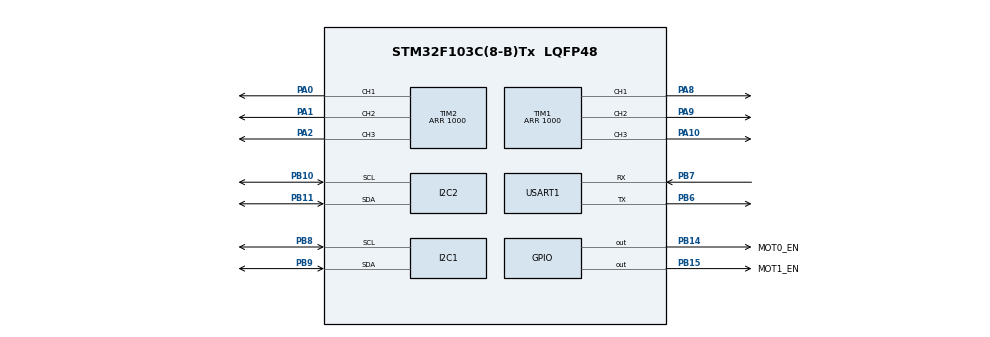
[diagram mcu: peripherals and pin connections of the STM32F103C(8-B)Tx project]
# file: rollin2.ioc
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I2C1.I2C_Mode=I2C_Standard
Mcu.Family=STM32F1
Mcu.Name=STM32F103C(8-B)Tx
Mcu.Package=LQFP48
NVIC.PriorityGroup=NVIC_PRIORITYGROUP_4
PA0-WKUP.Signal=S_TIM2_CH1_ETR
PA1.Signal=S_TIM2_CH2
PA10.Signal=S_TIM1_CH3
PA13.Mode=Serial_Wire
PA13.Signal=SYS_JTMS-SWDIO
PA14.Mode=Serial_Wire
PA14.Signal=SYS_JTCK-SWCLK
PA2.Signal=S_TIM2_CH3
PA8.Signal=S_TIM1_CH1
PA9.Signal=S_TIM1_CH2
PB10.Mode=I2C
PB10.Signal=I2C2_SCL
PB11.Mode=I2C
PB11.Signal=I2C2_SDA
PB14.GPIO_Label=MOT0_EN
PB14.GPIO_PuPd=GPIO_PULLDOWN
PB14.Signal=GPIO_Output
PB15.GPIO_Label=MOT1_EN
PB15.GPIO_PuPd=GPIO_PULLDOWN
PB15.Signal=GPIO_Output
PB6.Mode=Asynchronous
PB6.Signal=USART1_TX
PB7.Mode=Asynchronous
PB7.Signal=USART1_RX
PB8.Mode=I2C
PB8.Signal=I2C1_SCL
PB9.Mode=I2C
PB9.Signal=I2C1_SDA
PD0-OSC_IN.Mode=HSE-External-Oscillator
PD0-OSC_IN.Signal=RCC_OSC_IN
PD1-OSC_OUT.Mode=HSE-External-Oscillator
PD1-OSC_OUT.Signal=RCC_OSC_OUT
ProjectManager.HeapSize=0x200
ProjectManager.StackSize=0x400
ProjectManager.TargetToolchain=STM32CubeIDE
RCC.AHBFreq_Value=64000000
RCC.APB1CLKDivider=RCC_HCLK_DIV2
RCC.APB1Freq_Value=32000000
RCC.APB1TimFreq_Value=64000000
RCC.APB2Freq_Value=64000000
RCC.APB2TimFreq_Value=64000000
RCC.DATA_CACHE_ENABLE=1
RCC.HCLKFreq_Value=64000000
RCC.INSTRUCTION_CACHE_ENABLE=1
RCC.LSE_Drive_CapabilityArg=+LSE_Drive_Capability
RCC.MSIAutoCalibration=DISABLED
RCC.MSICalibrationValue=0
RCC.PLLMUL=RCC_PLL_MUL8
RCC.PLLSourceVirtual=RCC_PLLSOURCE_HSE
RCC.PWR_Regulator_Voltage_Scale=PWR_REGULATOR_VOLTAGE_SCALE1
RCC.SYSCLKFreq_VALUE=64000000
RCC.SYSCLKSource=RCC_SYSCLKSOURCE_PLLCLK
RCC.USBFreq_Value=64000000
SH.S_TIM1_CH1.0=TIM1_CH1,PWM Generation1 CH1
SH.S_TIM1_CH2.0=TIM1_CH2,PWM Generation2 CH2
SH.S_TIM1_CH3.0=TIM1_CH3,PWM Generation3 CH3
SH.S_TIM2_CH1_ETR.0=TIM2_CH1,PWM Generation1 CH1
SH.S_TIM2_CH2.0=TIM2_CH2,PWM Generation2 CH2
SH.S_TIM2_CH3.0=TIM2_CH3,PWM Generation3 CH3
TIM1.Channel-PWM\ Generation1\ CH1=TIM_CHANNEL_1
TIM1.Channel-PWM\ Generation2\ CH2=TIM_CHANNEL_2
TIM1.Channel-PWM\ Generation3\ CH3=TIM_CHANNEL_3
TIM1.ClockDivision=TIM_CLOCKDIVISION_DIV2
TIM1.Period=1000
TIM2.Channel-PWM\ Generation1\ CH1=TIM_CHANNEL_1
TIM2.Channel-PWM\ Generation2\ CH2=TIM_CHANNEL_2
TIM2.Channel-PWM\ Generation3\ CH3=TIM_CHANNEL_3
TIM2.ClockDivision=TIM_CLOCKDIVISION_DIV2
TIM2.Period=1000
USART1.VirtualMode=VM_ASYNC
VP_TIM1_VS_ClockSourceINT.Mode=Internal
VP_TIM2_VS_ClockSourceINT.Mode=Internal
VP_TIM3_VS_ClockSourceINT.Mode=Internal
board=custom

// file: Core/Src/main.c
/* USER CODE BEGIN Header */
/**
  ******************************************************************************
  * @file           : main.c
  * @brief          : Main program body
  ******************************************************************************
  * @attention
  *
  * Copyright (c) 2025 STMicroelectronics.
  * All rights reserved.
  *
  * This software is licensed under terms that can be found in the LICENSE file
  * in the root directory of this software component.
  * If no LICENSE file comes with this software, it is provided AS-IS.
  *
  ******************************************************************************
  */
/* USER CODE END Header */
#include "main.h"
#include "i2c.h"
#include "tim.h"
#include "usart.h"
#include "gpio.h"

/* USER CODE BEGIN Includes */
#include "project.h"
#include "uart.h"
#include "str_buf.h"
#include "bldc_motor.h"
#include "bldc_driver.h"
#include "angle_sensor.h"

/* USER CODE END Includes */

/* USER CODE BEGIN PV */
bldc_motor_t m1;
bldc_driver_t md1;
angle_sens_t as1;
uart_t u1;

#define MAIN_STR_BUF_SIZE (128)
char main_str_buf[MAIN_STR_BUF_SIZE];

/* USER CODE END PV */

void SystemClock_Config(void);

/* USER CODE BEGIN 0 */
void waitabit(uint32_t x) {
	while(x) x--;
}
/*#include "calcs.h"
void test_calcs(void) {
  volatile float res;
  res = calcs_sinf_from_lut(0); // 0
  res = calcs_sinf_from_lut(45); // 0.707
  res = calcs_sinf_from_lut(60); // 0.866
  res = calcs_sinf_from_lut(90); // 0.1
  res = calcs_sinf_from_lut(135); // 0.707
  res = calcs_sinf_from_lut(180); // 1.22E-16
  res = calcs_sinf_from_lut(359); // -0.017
  res = calcs_sinf_from_lut(270); // -1
  return;
}*/
/* USER CODE END 0 */

int main(void)
{

  /* USER CODE BEGIN 1 */
	uint32_t now, last_tick, waitcnt;
	float dt, sum_dt;//, ang_deg_vel, prev_angle_deg, delta;
  /* USER CODE END 1 */

  /* MCU Configuration--------------------------------------------------------*/

  /* Reset of all peripherals, Initializes the Flash interface and the Systick. */
  HAL_Init();

  /* Configure the system clock */
  SystemClock_Config();

  /* Initialize all configured peripherals */
  MX_GPIO_Init();
  MX_I2C1_Init();
  MX_I2C2_Init();
  MX_TIM1_Init();
  MX_TIM2_Init();
  MX_TIM3_Init();
  MX_USART1_UART_Init();
  /* USER CODE BEGIN 2 */

  uart_init(&u1, USART1);

  angle_sensor_init(&as1, &hi2c1);

  bldc_driver_init(&md1, TIM1);
  bldc_driver_set_enable_pin(&md1, MOT0_EN_GPIO_Port, MOT0_EN_Pin);

  bldc_motor_init(&m1, &md1, &as1);
  //bldc_motor_set_ctrl_type(&m1, BLDC_MOTOR_CTRL_TYPE_VELOCITY_OPENLOOP);
  bldc_motor_set_ctrl_type(&m1, BLDC_MOTOR_CTRL_TYPE_ANGLE_OPENLOOP);
  bldc_motor_set_motor_parameters(&m1, 7, 360, 0.4f);
  bldc_motor_set_pid(&m1, 1.0f, 1.0f, 0.0f);
  bldc_motor_set_voltage_limit(&m1, 1.0f);
  bldc_motor_set_speed_limit(&m1, 1.0f);
  bldc_motor_set_target_speed(&m1, 1.0f);
  bldc_motor_set_target_angle_deg(&m1, 90.0f);

  bldc_driver_enable(&md1);
  //bldc_driver_set_pwm(&md1, 100, 200, 300);

  bldc_motor_enable(&m1);
  m1.set.voltage_q = 0.125f;

  /* USER CODE END 2 */

  /* Infinite loop */
  /* USER CODE BEGIN WHILE */

  now = HAL_GetTick();
  last_tick = now;
  uart_send_string_blocking(&u1, "hello from the other side :-D\n");
  angle_sensor_get(&as1);
  str_buf_clear(main_str_buf, MAIN_STR_BUF_SIZE);
  str_buf_append_uint16(main_str_buf, MAIN_STR_BUF_SIZE, as1.raw_angle);
  str_buf_append_string(main_str_buf, MAIN_STR_BUF_SIZE, "\n");
  uart_send_string_blocking(&u1, main_str_buf);
  waitcnt = 1;//0000;
  sum_dt = 0;

  //test_calcs();

  while (1)
  {
	  //waitabit(500000);
	  waitabit(waitcnt);

	  now = HAL_GetTick();
	  dt = (float)(now - last_tick)/1000.0f; // in ms
	  last_tick = now;

	  bldc_motor_move(&m1, dt);
//#if 0
	  str_buf_clear(main_str_buf, MAIN_STR_BUF_SIZE);
	  str_buf_append_float(main_str_buf, MAIN_STR_BUF_SIZE, m1.current.angle_deg, 3);
	  str_buf_append_string(main_str_buf, MAIN_STR_BUF_SIZE, ",");
//	  str_buf_append_float(main_str_buf, MAIN_STR_BUF_SIZE, m1.current.angle_deg_s, 3);
//	  str_buf_append_string(main_str_buf, MAIN_STR_BUF_SIZE, ",");
//	  str_buf_append_uint16(main_str_buf, MAIN_STR_BUF_SIZE, as1.raw_angle);
//	  str_buf_append_string(main_str_buf, MAIN_STR_BUF_SIZE, ",");
	  //str_buf_append_float(main_str_buf, MAIN_STR_BUF_SIZE, ang_deg_vel, 5);*/

	  //str_buf_append_float(main_str_buf, MAIN_STR_BUF_SIZE, statangle, 5);
	  //str_buf_append_string(main_str_buf, MAIN_STR_BUF_SIZE, ",");

	  str_buf_append_float(main_str_buf, MAIN_STR_BUF_SIZE, dbg_uu, 5);
	  str_buf_append_string(main_str_buf, MAIN_STR_BUF_SIZE, ",");
	  str_buf_append_float(main_str_buf, MAIN_STR_BUF_SIZE, dbg_uv, 5);
	  str_buf_append_string(main_str_buf, MAIN_STR_BUF_SIZE, ",");
	  str_buf_append_float(main_str_buf, MAIN_STR_BUF_SIZE, dbg_uw, 5);
	  str_buf_append_string(main_str_buf, MAIN_STR_BUF_SIZE, ",");

	  str_buf_append_uint16(main_str_buf, MAIN_STR_BUF_SIZE, statangle_u);
	  str_buf_append_string(main_str_buf, MAIN_STR_BUF_SIZE, ",");
	  str_buf_append_uint16(main_str_buf, MAIN_STR_BUF_SIZE, statangle_v);
	  str_buf_append_string(main_str_buf, MAIN_STR_BUF_SIZE, ",");
	  str_buf_append_uint16(main_str_buf, MAIN_STR_BUF_SIZE, statangle_w);
	  str_buf_append_string(main_str_buf, MAIN_STR_BUF_SIZE, ",");
	  str_buf_append_uint16(main_str_buf, MAIN_STR_BUF_SIZE, statangle_inc);

	  str_buf_append_string(main_str_buf, MAIN_STR_BUF_SIZE, "\n");
	  uart_send_string_blocking(&u1, main_str_buf);
//#endif

	  sum_dt += dt;
	  if(sum_dt > 2.0f) {
		  sum_dt = 0.0f;
		  m1.calc.shaft_angle_deg = 0;
		  m1.calc.shaft_angle_deg_old = 0;
		  bldc_motor_set_target_angle_deg(&m1, 150.0f);
		  bldc_motor_enable(&m1);
	  }
    /* USER CODE END WHILE */

  }
}

void SystemClock_Config(void)
{
  LL_FLASH_SetLatency(LL_FLASH_LATENCY_2);
  while(LL_FLASH_GetLatency()!= LL_FLASH_LATENCY_2)
  {
  }
  LL_RCC_HSE_Enable();

   /* Wait till HSE is ready */
  while(LL_RCC_HSE_IsReady() != 1)
  {

  }
  LL_RCC_PLL_ConfigDomain_SYS(LL_RCC_PLLSOURCE_HSE_DIV_1, LL_RCC_PLL_MUL_8);
  LL_RCC_PLL_Enable();

   /* Wait till PLL is ready */
  while(LL_RCC_PLL_IsReady() != 1)
  {

  }
  LL_RCC_SetAHBPrescaler(LL_RCC_SYSCLK_DIV_1);
  LL_RCC_SetAPB1Prescaler(LL_RCC_APB1_DIV_2);
  LL_RCC_SetAPB2Prescaler(LL_RCC_APB2_DIV_1);
  LL_RCC_SetSysClkSource(LL_RCC_SYS_CLKSOURCE_PLL);

   /* Wait till System clock is ready */
  while(LL_RCC_GetSysClkSource() != LL_RCC_SYS_CLKSOURCE_STATUS_PLL)
  {

  }
  LL_SetSystemCoreClock(64000000);

   /* Update the time base */
  if (HAL_InitTick (TICK_INT_PRIORITY) != HAL_OK)
  {
    Error_Handler();
  }
}

void Error_Handler(void)
{
  __disable_irq();
  while (1)
  {
  }
}
